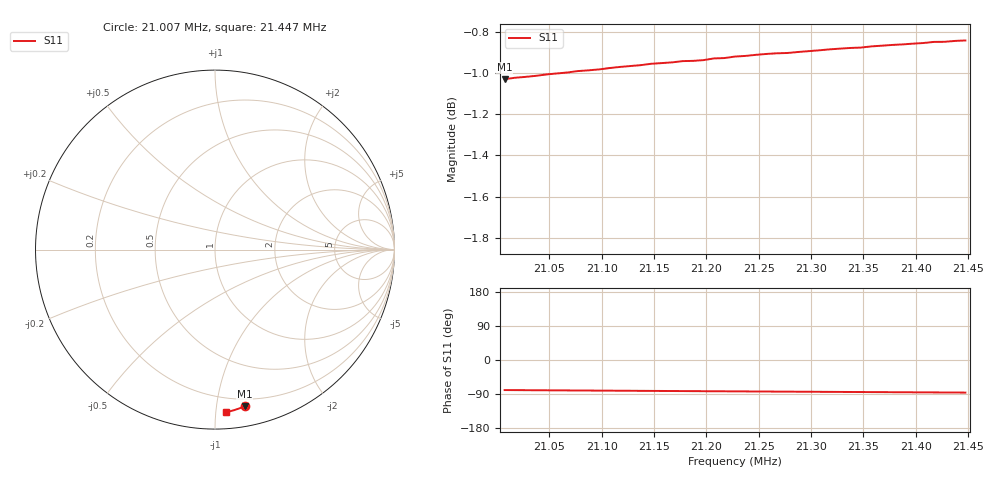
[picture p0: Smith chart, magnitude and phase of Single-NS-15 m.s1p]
# HZ S RI R 50
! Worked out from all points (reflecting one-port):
!   45 points, 21.007 MHz to 21.447 MHz, reference 50 ohm
!   lowest |S11| = -1.0 dB at 21.007 MHz (marker M1), VSWR 16.90, Z = 7.23 - j59.8 ohm
!   phase of S11 starts at -79 deg and turns -7 deg over the sweep
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2.10072e7  0.1645 -0.8729
2.106722e7  0.1503 -0.8788
2.107723e7  0.148 -0.8799
2.109724e7  0.1433 -0.8815
2.111724e7  0.1387 -0.8835
2.113725e7  0.1339 -0.8852
2.114726e7  0.1318 -0.8862
2.116726e7  0.1269 -0.8876
2.117727e7  0.1248 -0.8886
2.118727e7  0.1221 -0.8891
2.119728e7  0.12 -0.8897
2.120728e7  0.1177 -0.8909
2.121728e7  0.1157 -0.8913
2.122729e7  0.1133 -0.8924
2.123729e7  0.1108 -0.893
2.12573e7  0.1064 -0.8946
2.127731e7  0.1017 -0.8956
2.128731e7  0.0994 -0.8964
2.129732e7  0.0973 -0.897
2.131732e7  0.0927 -0.8984
2.133733e7  0.0884 -0.8996
2.134734e7  0.086 -0.9
2.135734e7  0.0837 -0.9008
2.139736e7  0.0748 -0.903
2.140736e7  0.0724 -0.9035
2.141736e7  0.0703 -0.9042
2.142737e7  0.0683 -0.9044
2.144738e7  0.0635 -0.9055
